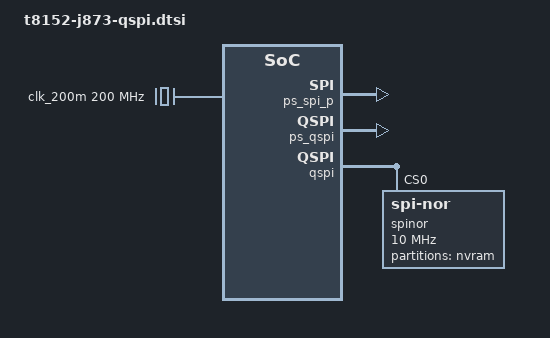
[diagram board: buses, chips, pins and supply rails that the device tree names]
// SPDX-License-Identifier: GPL-2.0+ OR MIT

/*
 * The boot NOR behind the QSPIMC controller (ADT /arm-io/qspi/spinor: firmware,
 * anvram, syscfg), for asahi-nvram and asahi-bless. The controller's power
 * states (PMGR devices SPI_P and QSPI) are off once iBoot is done with it;
 * reading it without them takes an SError.
 */
/ {
	aliases {
		nvram = &nvram;
	};

	/* QSPIMC input clock, as on T8140 (ADT clock-ids 412) */
	clk_200m: clock-200m {
		compatible = "fixed-clock";
		#clock-cells = <0>;
		clock-frequency = <200000000>;
		clock-output-names = "clk_200m";
	};

	soc {
		pmgr: power-management@300700000 {
			compatible = "apple,t8152-pmgr", "apple,t8103-pmgr",
				     "syscon", "simple-mfd";
			#address-cells = <1>;
			#size-cells = <1>;
			reg = <0x3 0x700000 0x0 0x14000>;
		};

		qspi: spi@331118000 {
			compatible = "apple,t8152-qspi", "apple,t8140-qspi";
			/* One aperture; the command block starts at offset 0x800. */
			reg = <0x3 0x31118000 0x0 0x4800>;
			interrupt-parent = <&aic>;
			interrupts = <AIC_IRQ 1411 IRQ_TYPE_LEVEL_HIGH>;
			clocks = <&clk_200m>;
			power-domains = <&ps_qspi>;
			#address-cells = <1>;
			#size-cells = <0>;

			spinor: flash@0 {
				compatible = "jedec,spi-nor";
				reg = <0>;
				spi-max-frequency = <10000000>;

				partitions {
					compatible = "fixed-partitions";
					#address-cells = <1>;
					#size-cells = <1>;

					/*
					 * 64 KiB NVRAM v3 banks ("3VVN") from 0x24000
					 * to 0x1f4000, as on T8140 J700.
					 */
					nvram: partition@24000 {
						label = "nvram";
						reg = <0x24000 0x1d0000>;
					};
				};
			};
		};
	};
};

&pmgr {
	ps_spi_p: power-controller@d40 {
		compatible = "apple,t8152-pmgr-pwrstate",
			     "apple,t8103-pmgr-pwrstate";
		reg = <0xd40 4>;
		#power-domain-cells = <0>;
		#reset-cells = <0>;
		label = "spi_p";
	};

	ps_qspi: power-controller@1140 {
		compatible = "apple,t8152-pmgr-pwrstate",
			     "apple,t8103-pmgr-pwrstate";
		reg = <0x1140 4>;
		#power-domain-cells = <0>;
		#reset-cells = <0>;
		label = "qspi";
		power-domains = <&ps_spi_p>;
	};
};
